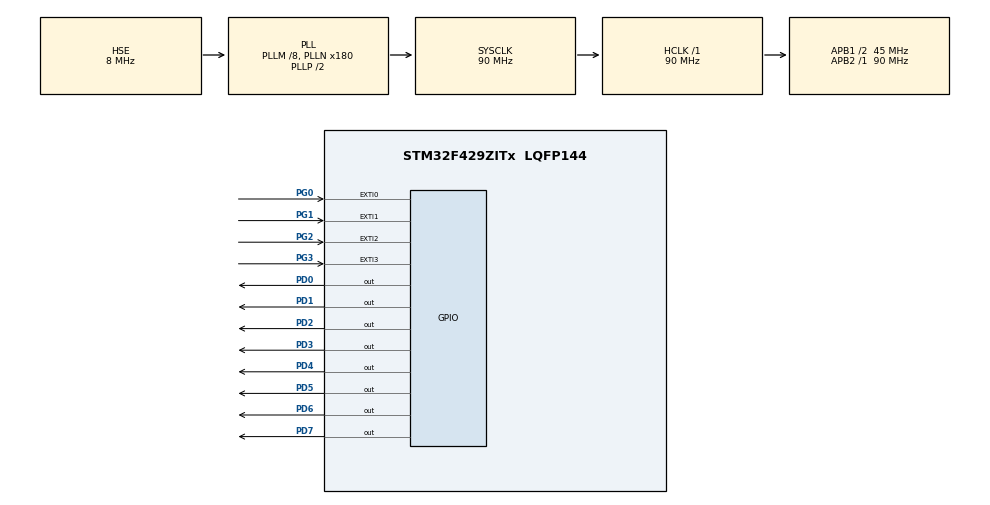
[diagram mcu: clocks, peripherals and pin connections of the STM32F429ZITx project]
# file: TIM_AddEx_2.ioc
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Mcu.Family=STM32F4
Mcu.Name=STM32F429ZITx
Mcu.Package=LQFP144
NVIC.EXTI0_IRQn=true\:0\:0\:false\:false\:true\:true\:true\:true
NVIC.EXTI1_IRQn=true\:0\:0\:false\:false\:true\:true\:true\:true
NVIC.EXTI2_IRQn=true\:0\:0\:false\:false\:true\:true\:true\:true
NVIC.EXTI3_IRQn=true\:0\:0\:false\:false\:true\:true\:true\:true
NVIC.PriorityGroup=NVIC_PRIORITYGROUP_4
NVIC.TIM2_IRQn=true\:0\:0\:false\:false\:true\:true\:true\:true
PA13.Mode=Serial_Wire
PA13.Signal=SYS_JTMS-SWDIO
PA14.Mode=Serial_Wire
PA14.Signal=SYS_JTCK-SWCLK
PD0.GPIO_ModeDefaultOutputPP=GPIO_MODE_OUTPUT_PP
PD0.GPIO_PuPd=GPIO_PULLUP
PD0.GPIO_Speed=GPIO_SPEED_FREQ_HIGH
PD0.PinState=GPIO_PIN_RESET
PD0.Signal=GPIO_Output
PD1.GPIO_ModeDefaultOutputPP=GPIO_MODE_OUTPUT_PP
PD1.GPIO_PuPd=GPIO_PULLUP
PD1.GPIO_Speed=GPIO_SPEED_FREQ_HIGH
PD1.PinState=GPIO_PIN_RESET
PD1.Signal=GPIO_Output
PD2.GPIO_ModeDefaultOutputPP=GPIO_MODE_OUTPUT_PP
PD2.GPIO_PuPd=GPIO_PULLUP
PD2.GPIO_Speed=GPIO_SPEED_FREQ_HIGH
PD2.PinState=GPIO_PIN_RESET
PD2.Signal=GPIO_Output
PD3.GPIO_ModeDefaultOutputPP=GPIO_MODE_OUTPUT_PP
PD3.GPIO_PuPd=GPIO_PULLUP
PD3.GPIO_Speed=GPIO_SPEED_FREQ_HIGH
PD3.PinState=GPIO_PIN_RESET
PD3.Signal=GPIO_Output
PD4.GPIO_ModeDefaultOutputPP=GPIO_MODE_OUTPUT_PP
PD4.GPIO_PuPd=GPIO_PULLUP
PD4.GPIO_Speed=GPIO_SPEED_FREQ_HIGH
PD4.PinState=GPIO_PIN_RESET
PD4.Signal=GPIO_Output
PD5.GPIO_ModeDefaultOutputPP=GPIO_MODE_OUTPUT_PP
PD5.GPIO_PuPd=GPIO_PULLUP
PD5.GPIO_Speed=GPIO_SPEED_FREQ_HIGH
PD5.PinState=GPIO_PIN_RESET
PD5.Signal=GPIO_Output
PD6.GPIO_ModeDefaultOutputPP=GPIO_MODE_OUTPUT_PP
PD6.GPIO_PuPd=GPIO_PULLUP
PD6.GPIO_Speed=GPIO_SPEED_FREQ_HIGH
PD6.PinState=GPIO_PIN_RESET
PD6.Signal=GPIO_Output
PD7.GPIO_ModeDefaultOutputPP=GPIO_MODE_OUTPUT_PP
PD7.GPIO_PuPd=GPIO_PULLUP
PD7.GPIO_Speed=GPIO_SPEED_FREQ_HIGH
PD7.PinState=GPIO_PIN_RESET
PD7.Signal=GPIO_Output
PG0.GPIO_ModeDefaultEXTI=GPIO_MODE_IT_FALLING
PG0.GPIO_PuPd=GPIO_NOPULL
PG0.Signal=GPXTI0
PG1.GPIO_ModeDefaultEXTI=GPIO_MODE_IT_FALLING
PG1.GPIO_PuPd=GPIO_NOPULL
PG1.Signal=GPXTI1
PG2.GPIO_ModeDefaultEXTI=GPIO_MODE_IT_FALLING
PG2.GPIO_PuPd=GPIO_NOPULL
PG2.Signal=GPXTI2
PG3.GPIO_ModeDefaultEXTI=GPIO_MODE_IT_FALLING
PG3.GPIO_PuPd=GPIO_NOPULL
PG3.Signal=GPXTI3
PH0/OSC_IN.Mode=HSE-External-Clock-Source
PH0/OSC_IN.Signal=RCC_OSC_IN
PH1/OSC_OUT.Mode=HSE-External-Clock-Source
PH1/OSC_OUT.Signal=RCC_OSC_OUT
ProjectManager.HeapSize=0x200
ProjectManager.StackSize=0x400
ProjectManager.TargetToolchain=STM32CubeIDE
RCC.48MHZClocksFreq_Value=45000000
RCC.AHBFreq_Value=90000000
RCC.APB1CLKDivider=RCC_HCLK_DIV2
RCC.APB1Freq_Value=45000000
RCC.APB1TimFreq_Value=90000000
RCC.APB2Freq_Value=90000000
RCC.APB2TimFreq_Value=90000000
RCC.CortexFreq_Value=90000000
RCC.HCLKFreq_Value=90000000
RCC.HSE_VALUE=8000000
RCC.HSI_VALUE=16000000
RCC.LSE_VALUE=32768
RCC.PLLM=8
RCC.PLLN=180
RCC.PLLSourceVirtual=RCC_PLLSOURCE_HSE
RCC.SYSCLKFreq_VALUE=90000000
RCC.SYSCLKSource=RCC_SYSCLKSOURCE_PLLCLK
RCC.VCOOutputFreq_Value=180000000
TIM2.Period=9
TIM2.Prescaler=8999
VP_TIM2_VS_ClockSourceINT.Mode=Internal
board=custom

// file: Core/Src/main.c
/* USER CODE BEGIN Header */
/**
  ******************************************************************************
  * @file           : main.c
  * @brief          : Main program body
  ******************************************************************************
  * @attention
  *
  * Copyright (c) 2023 STMicroelectronics.
  * All rights reserved.
  *
  * This software is licensed under terms that can be found in the LICENSE file
  * in the root directory of this software component.
  * If no LICENSE file comes with this software, it is provided AS-IS.
  *
  ******************************************************************************
  */
/* USER CODE END Header */
#include "main.h"

TIM_HandleTypeDef htim2;

/* USER CODE BEGIN PV */

int flag_1 = 0, flag_2 = 0, flag_3 = 0, flag_4 = 0, flag_5 = 0, flag_6 = 0, flag_7 = 0, flag_8 = 0;
int cnt = 1000, v_cnt = 0;

/* USER CODE END PV */

void SystemClock_Config(void);
static void MX_GPIO_Init(void);
static void MX_TIM2_Init(void);
/* USER CODE BEGIN PFP */

void LED_OnOff(int, int);

/* USER CODE END PFP */

int main(void)
{

  /* MCU Configuration--------------------------------------------------------*/

  /* Reset of all peripherals, Initializes the Flash interface and the Systick. */
  HAL_Init();

  /* Configure the system clock */
  SystemClock_Config();

  /* Initialize all configured peripherals */
  MX_GPIO_Init();
  MX_TIM2_Init();
  /* USER CODE BEGIN 2 */

  LED_OnOff(LED_ALL, 500);;
  HAL_TIM_Base_Start_IT(&htim2);

  /* USER CODE END 2 */

  /* Infinite loop */
  while (1)
  {

  }
}

void SystemClock_Config(void)
{
  RCC_OscInitTypeDef RCC_OscInitStruct = {0};
  RCC_ClkInitTypeDef RCC_ClkInitStruct = {0};

  /** Configure the main internal regulator output voltage
  */
  __HAL_RCC_PWR_CLK_ENABLE();
  __HAL_PWR_VOLTAGESCALING_CONFIG(PWR_REGULATOR_VOLTAGE_SCALE3);

  /** Initializes the RCC Oscillators according to the specified parameters
  * in the RCC_OscInitTypeDef structure.
  */
  RCC_OscInitStruct.OscillatorType = RCC_OSCILLATORTYPE_HSE;
  RCC_OscInitStruct.HSEState = RCC_HSE_BYPASS;
  RCC_OscInitStruct.PLL.PLLState = RCC_PLL_ON;
  RCC_OscInitStruct.PLL.PLLSource = RCC_PLLSOURCE_HSE;
  RCC_OscInitStruct.PLL.PLLM = 8;
  RCC_OscInitStruct.PLL.PLLN = 180;
  RCC_OscInitStruct.PLL.PLLP = RCC_PLLP_DIV2;
  RCC_OscInitStruct.PLL.PLLQ = 4;
  if (HAL_RCC_OscConfig(&RCC_OscInitStruct) != HAL_OK)
  {
    Error_Handler();
  }

  /** Activate the Over-Drive mode
  */
  if (HAL_PWREx_EnableOverDrive() != HAL_OK)
  {
    Error_Handler();
  }

  /** Initializes the CPU, AHB and APB buses clocks
  */
  RCC_ClkInitStruct.ClockType = RCC_CLOCKTYPE_HCLK|RCC_CLOCKTYPE_SYSCLK
                              |RCC_CLOCKTYPE_PCLK1|RCC_CLOCKTYPE_PCLK2;
  RCC_ClkInitStruct.SYSCLKSource = RCC_SYSCLKSOURCE_PLLCLK;
  RCC_ClkInitStruct.AHBCLKDivider = RCC_SYSCLK_DIV1;
  RCC_ClkInitStruct.APB1CLKDivider = RCC_HCLK_DIV2;
  RCC_ClkInitStruct.APB2CLKDivider = RCC_HCLK_DIV1;

  if (HAL_RCC_ClockConfig(&RCC_ClkInitStruct, FLASH_LATENCY_2) != HAL_OK)
  {
    Error_Handler();
  }
}

static void MX_TIM2_Init(void)
{

  TIM_ClockConfigTypeDef sClockSourceConfig = {0};
  TIM_MasterConfigTypeDef sMasterConfig = {0};

  htim2.Instance = TIM2;
  htim2.Init.Prescaler = 8999;
  htim2.Init.CounterMode = TIM_COUNTERMODE_UP;
  htim2.Init.Period = 9;
  htim2.Init.ClockDivision = TIM_CLOCKDIVISION_DIV1;
  htim2.Init.AutoReloadPreload = TIM_AUTORELOAD_PRELOAD_DISABLE;
  if (HAL_TIM_Base_Init(&htim2) != HAL_OK)
  {
    Error_Handler();
  }
  sClockSourceConfig.ClockSource = TIM_CLOCKSOURCE_INTERNAL;
  if (HAL_TIM_ConfigClockSource(&htim2, &sClockSourceConfig) != HAL_OK)
  {
    Error_Handler();
  }
  sMasterConfig.MasterOutputTrigger = TIM_TRGO_RESET;
  sMasterConfig.MasterSlaveMode = TIM_MASTERSLAVEMODE_DISABLE;
  if (HAL_TIMEx_MasterConfigSynchronization(&htim2, &sMasterConfig) != HAL_OK)
  {
    Error_Handler();
  }

}

static void MX_GPIO_Init(void)
{
  GPIO_InitTypeDef GPIO_InitStruct = {0};

  /* GPIO Ports Clock Enable */
  __HAL_RCC_GPIOH_CLK_ENABLE();
  __HAL_RCC_GPIOG_CLK_ENABLE();
  __HAL_RCC_GPIOA_CLK_ENABLE();
  __HAL_RCC_GPIOD_CLK_ENABLE();

  /*Configure GPIO pin Output Level */
  HAL_GPIO_WritePin(GPIOD, GPIO_PIN_0|GPIO_PIN_1|GPIO_PIN_2|GPIO_PIN_3
                          |GPIO_PIN_4|GPIO_PIN_5|GPIO_PIN_6|GPIO_PIN_7, GPIO_PIN_RESET);

  /*Configure GPIO pins : PG0 PG1 PG2 PG3 */
  GPIO_InitStruct.Pin = GPIO_PIN_0|GPIO_PIN_1|GPIO_PIN_2|GPIO_PIN_3;
  GPIO_InitStruct.Mode = GPIO_MODE_IT_FALLING;
  GPIO_InitStruct.Pull = GPIO_NOPULL;
  HAL_GPIO_Init(GPIOG, &GPIO_InitStruct);

  /*Configure GPIO pins : PD0 PD1 PD2 PD3
                           PD4 PD5 PD6 PD7 */
  GPIO_InitStruct.Pin = GPIO_PIN_0|GPIO_PIN_1|GPIO_PIN_2|GPIO_PIN_3
                          |GPIO_PIN_4|GPIO_PIN_5|GPIO_PIN_6|GPIO_PIN_7;
  GPIO_InitStruct.Mode = GPIO_MODE_OUTPUT_PP;
  GPIO_InitStruct.Pull = GPIO_PULLUP;
  GPIO_InitStruct.Speed = GPIO_SPEED_FREQ_HIGH;
  HAL_GPIO_Init(GPIOD, &GPIO_InitStruct);

  /* EXTI interrupt init*/
  HAL_NVIC_SetPriority(EXTI0_IRQn, 0, 0);
  HAL_NVIC_EnableIRQ(EXTI0_IRQn);

  HAL_NVIC_SetPriority(EXTI1_IRQn, 0, 0);
  HAL_NVIC_EnableIRQ(EXTI1_IRQn);

  HAL_NVIC_SetPriority(EXTI2_IRQn, 0, 0);
  HAL_NVIC_EnableIRQ(EXTI2_IRQn);

  HAL_NVIC_SetPriority(EXTI3_IRQn, 0, 0);
  HAL_NVIC_EnableIRQ(EXTI3_IRQn);

}

/* USER CODE BEGIN 4 */

void LED_OnOff(int led, int interval)
{
	HAL_GPIO_WritePin(GPIO_LED, led, GPIO_PIN_SET );
	HAL_GPIO_WritePin(GPIO_LED_Nucleo, led, GPIO_PIN_SET );
	HAL_Delay(interval);
	HAL_GPIO_WritePin(GPIO_LED, led, GPIO_PIN_RESET );
	HAL_GPIO_WritePin(GPIO_LED_Nucleo, led, GPIO_PIN_RESET );
}
void HAL_TIM_PeriodElapsedCallback(TIM_HandleTypeDef *htim)
{
	if ( htim->Instance == TIM2){
		v_cnt++;

		if (v_cnt==cnt){
			if ((((flag_1==0)&&(flag_2==0))&&((flag_3==0)&&(flag_4==0)))&&(((flag_5==0)&&(flag_6==0))&&((flag_7==0)&&(flag_8==0)))){
				HAL_GPIO_WritePin(GPIO_LED, LED1, GPIO_PIN_SET);
				HAL_GPIO_WritePin(GPIO_LED, LED2, GPIO_PIN_RESET);
				HAL_GPIO_WritePin(GPIO_LED, LED3, GPIO_PIN_RESET);
				HAL_GPIO_WritePin(GPIO_LED, LED4, GPIO_PIN_RESET);
				HAL_GPIO_WritePin(GPIO_LED, LED5, GPIO_PIN_RESET);
				HAL_GPIO_WritePin(GPIO_LED, LED6, GPIO_PIN_RESET);
				HAL_GPIO_WritePin(GPIO_LED, LED7, GPIO_PIN_RESET);
				HAL_GPIO_WritePin(GPIO_LED, LED8, GPIO_PIN_RESET);

				flag_1 = 1,	flag_2 = 0,	flag_3 = 0,	flag_4 = 0,	flag_5 = 0,	flag_6 = 0,	flag_7 = 0,	flag_8 = 0;
				v_cnt = 0;
				cnt=cnt-50;
			}
			else if (flag_1==1){
				HAL_GPIO_WritePin(GPIO_LED, LED1, GPIO_PIN_RESET);
				HAL_GPIO_WritePin(GPIO_LED, LED2, GPIO_PIN_SET);
				HAL_GPIO_WritePin(GPIO_LED, LED3, GPIO_PIN_RESET);
				HAL_GPIO_WritePin(GPIO_LED, LED4, GPIO_PIN_RESET);
				HAL_GPIO_WritePin(GPIO_LED, LED5, GPIO_PIN_RESET);
				HAL_GPIO_WritePin(GPIO_LED, LED6, GPIO_PIN_RESET);
				HAL_GPIO_WritePin(GPIO_LED, LED7, GPIO_PIN_RESET);
				HAL_GPIO_WritePin(GPIO_LED, LED8, GPIO_PIN_RESET);

				flag_1 = 0,	flag_2 = 1,	flag_3 = 0,	flag_4 = 0,	flag_5 = 0,	flag_6 = 0,	flag_7 = 0,	flag_8 = 0;
				v_cnt = 0;
				cnt=cnt-50;
			}
			else if (flag_2==1){
				HAL_GPIO_WritePin(GPIO_LED, LED1, GPIO_PIN_RESET);
				HAL_GPIO_WritePin(GPIO_LED, LED2, GPIO_PIN_RESET);
				HAL_GPIO_WritePin(GPIO_LED, LED3, GPIO_PIN_SET);
				HAL_GPIO_WritePin(GPIO_LED, LED4, GPIO_PIN_RESET);
				HAL_GPIO_WritePin(GPIO_LED, LED5, GPIO_PIN_RESET);
				HAL_GPIO_WritePin(GPIO_LED, LED6, GPIO_PIN_RESET);
				HAL_GPIO_WritePin(GPIO_LED, LED7, GPIO_PIN_RESET);
				HAL_GPIO_WritePin(GPIO_LED, LED8, GPIO_PIN_RESET);

				flag_1 = 0,	flag_2 = 0,	flag_3 = 1,	flag_4 = 0,	flag_5 = 0,	flag_6 = 0,	flag_7 = 0,	flag_8 = 0;
				v_cnt = 0;
				cnt=cnt-50;
			}
			else if (flag_3==1){
				HAL_GPIO_WritePin(GPIO_LED, LED1, GPIO_PIN_RESET);
				HAL_GPIO_WritePin(GPIO_LED, LED2, GPIO_PIN_RESET);
				HAL_GPIO_WritePin(GPIO_LED, LED3, GPIO_PIN_RESET);
				HAL_GPIO_WritePin(GPIO_LED, LED4, GPIO_PIN_SET);
				HAL_GPIO_WritePin(GPIO_LED, LED5, GPIO_PIN_RESET);
				HAL_GPIO_WritePin(GPIO_LED, LED6, GPIO_PIN_RESET);
				HAL_GPIO_WritePin(GPIO_LED, LED7, GPIO_PIN_RESET);
				HAL_GPIO_WritePin(GPIO_LED, LED8, GPIO_PIN_RESET);

				flag_1 = 0,	flag_2 = 0,	flag_3 = 0,	flag_4 = 1,	flag_5 = 0,	flag_6 = 0,	flag_7 = 0,	flag_8 = 0;
				v_cnt = 0;
				cnt=cnt-50;
			}
			else if (flag_4==1){
				HAL_GPIO_WritePin(GPIO_LED, LED1, GPIO_PIN_RESET);
				HAL_GPIO_WritePin(GPIO_LED, LED2, GPIO_PIN_RESET);
				HAL_GPIO_WritePin(GPIO_LED, LED3, GPIO_PIN_RESET);
				HAL_GPIO_WritePin(GPIO_LED, LED4, GPIO_PIN_RESET);
				HAL_GPIO_WritePin(GPIO_LED, LED5, GPIO_PIN_SET);
				HAL_GPIO_WritePin(GPIO_LED, LED6, GPIO_PIN_RESET);
				HAL_GPIO_WritePin(GPIO_LED, LED7, GPIO_PIN_RESET);
				HAL_GPIO_WritePin(GPIO_LED, LED8, GPIO_PIN_RESET);

				flag_1 = 0,	flag_2 = 0,	flag_3 = 0,	flag_4 = 0,	flag_5 = 1,	flag_6 = 0,	flag_7 = 0,	flag_8 = 0;
				v_cnt = 0;
				cnt=cnt-50;
			}
			else if (flag_5==1){
				HAL_GPIO_WritePin(GPIO_LED, LED1, GPIO_PIN_RESET);
				HAL_GPIO_WritePin(GPIO_LED, LED2, GPIO_PIN_RESET);
				HAL_GPIO_WritePin(GPIO_LED, LED3, GPIO_PIN_RESET);
				HAL_GPIO_WritePin(GPIO_LED, LED4, GPIO_PIN_RESET);
				HAL_GPIO_WritePin(GPIO_LED, LED5, GPIO_PIN_RESET);
				HAL_GPIO_WritePin(GPIO_LED, LED6, GPIO_PIN_SET);
				HAL_GPIO_WritePin(GPIO_LED, LED7, GPIO_PIN_RESET);
				HAL_GPIO_WritePin(GPIO_LED, LED8, GPIO_PIN_RESET);

				flag_1 = 0,	flag_2 = 0,	flag_3 = 0,	flag_4 = 0,	flag_5 = 0,	flag_6 = 1,	flag_7 = 0,	flag_8 = 0;
				v_cnt = 0;
				cnt=cnt-50;
			}
			else if (flag_6==1){
				HAL_GPIO_WritePin(GPIO_LED, LED1, GPIO_PIN_RESET);
				HAL_GPIO_WritePin(GPIO_LED, LED2, GPIO_PIN_RESET);
				HAL_GPIO_WritePin(GPIO_LED, LED3, GPIO_PIN_RESET);
				HAL_GPIO_WritePin(GPIO_LED, LED4, GPIO_PIN_RESET);
				HAL_GPIO_WritePin(GPIO_LED, LED5, GPIO_PIN_RESET);
				HAL_GPIO_WritePin(GPIO_LED, LED6, GPIO_PIN_RESET);
				HAL_GPIO_WritePin(GPIO_LED, LED7, GPIO_PIN_SET);
				HAL_GPIO_WritePin(GPIO_LED, LED8, GPIO_PIN_RESET);

				flag_1 = 0,	flag_2 = 0,	flag_3 = 0,	flag_4 = 0,	flag_5 = 0,	flag_6 = 0,	flag_7 = 1,	flag_8 = 0;
				v_cnt = 0;
				cnt=cnt-50;
			}
			else if (flag_7==1){
				HAL_GPIO_WritePin(GPIO_LED, LED1, GPIO_PIN_RESET);
				HAL_GPIO_WritePin(GPIO_LED, LED2, GPIO_PIN_RESET);
				HAL_GPIO_WritePin(GPIO_LED, LED3, GPIO_PIN_RESET);
				HAL_GPIO_WritePin(GPIO_LED, LED4, GPIO_PIN_RESET);
				HAL_GPIO_WritePin(GPIO_LED, LED5, GPIO_PIN_RESET);
				HAL_GPIO_WritePin(GPIO_LED, LED6, GPIO_PIN_RESET);
				HAL_GPIO_WritePin(GPIO_LED, LED7, GPIO_PIN_RESET);
				HAL_GPIO_WritePin(GPIO_LED, LED8, GPIO_PIN_SET);

				flag_1 = 0,	flag_2 = 0,	flag_3 = 0,	flag_4 = 0,	flag_5 = 0,	flag_6 = 0,	flag_7 = 0,	flag_8 = 1;
				v_cnt = 0;
				cnt=cnt-50;
			}
			else if (flag_8==1){
				HAL_GPIO_WritePin(GPIO_LED, LED1, GPIO_PIN_SET);
				HAL_GPIO_WritePin(GPIO_LED, LED2, GPIO_PIN_RESET);
				HAL_GPIO_WritePin(GPIO_LED, LED3, GPIO_PIN_RESET);
				HAL_GPIO_WritePin(GPIO_LED, LED4, GPIO_PIN_RESET);
				HAL_GPIO_WritePin(GPIO_LED, LED5, GPIO_PIN_RESET);
				HAL_GPIO_WritePin(GPIO_LED, LED6, GPIO_PIN_RESET);
				HAL_GPIO_WritePin(GPIO_LED, LED7, GPIO_PIN_RESET);
				HAL_GPIO_WritePin(GPIO_LED, LED8, GPIO_PIN_RESET);

				flag_1 = 1,	flag_2 = 0,	flag_3 = 0,	flag_4 = 0,	flag_5 = 0,	flag_6 = 0,	flag_7 = 0,	flag_8 = 0;
				v_cnt = 0;
				cnt=cnt-50;
			}
			if (cnt<=0){
				cnt=1000;
			}
		}

	}
}

/* USER CODE END 4 */

void Error_Handler(void)
{
  __disable_irq();
  while (1)
  {
  }
}
